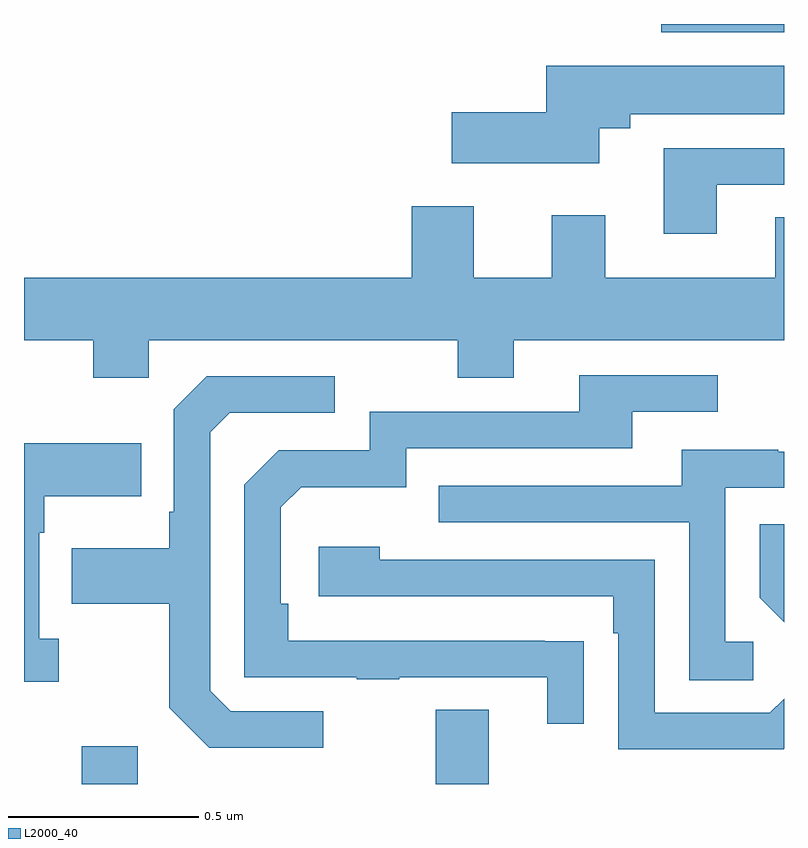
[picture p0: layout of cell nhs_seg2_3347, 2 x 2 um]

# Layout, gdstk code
import gdstk
lib = gdstk.Library(unit=1e-6, precision=1e-09)
def R(c, l, rs):  # rectangles x0, y0, x1, y1
    for r in rs: c.add(gdstk.rectangle(r[:2], r[2:], *l))
def P(c, l, *ps):  # polygons
    for p in ps: c.add(gdstk.Polygon(p, *l))
L2000_40 = (2000, 40)

nhs_seg2_3347 = lib.new_cell('nhs_seg2_3347')
R(nhs_seg2_3347, L2000_40, [(152.152,647.8,152.299,647.899), (153.083,647.8,153.223,647.995), (153.677,649.778,154,649.8)])
P(nhs_seg2_3347, L2000_40, [(153.514,649.526),(153.595,649.526),(153.595,649.562),(154,649.562),(154,649.69),(153.374,649.69),(153.374,649.568),(153.126,649.568),(153.126,649.433),(153.514,649.433)],
  [(153.823,649.377),(154,649.377),(154,649.473),(153.683,649.473),(153.683,649.248),(153.823,649.248)],
  [(152.328,648.968),(153.142,648.968),(153.142,648.869),(153.289,648.869),(153.289,648.968),(154,648.968),(154,649.292),(153.977,649.292),(153.977,649.132),(153.529,649.132),(153.529,649.297),(153.389,649.297),(153.389,649.132),(153.184,649.132),(153.184,649.321),(153.02,649.321),(153.02,649.132),(152,649.132),(152,648.968),(152.182,648.968),(152.182,648.869),(152.328,648.869)],
  [(153.473,648.176),(153.371,648.176),(153.371,648.177),(152.696,648.177),(152.696,648.274),(152.676,648.274),(152.676,648.528),(152.729,648.581),(153.006,648.581),(153.006,648.684),(153.601,648.684),(153.601,648.78),(153.826,648.78),(153.826,648.876),(153.461,648.876),(153.461,648.78),(152.91,648.78),(152.91,648.678),(152.67,648.678),(152.58,648.588),(152.58,648.081),(152.875,648.081),(152.875,648.076),(152.987,648.076),(152.987,648.081),(153.377,648.081),(153.377,647.958),(153.473,647.958)],
  [(152.788,647.991),(152.544,647.991),(152.49,648.045),(152.49,648.726),(152.541,648.777),(152.818,648.777),(152.818,648.873),(152.481,648.873),(152.394,648.786),(152.394,648.517),(152.382,648.517),(152.382,648.421),(152.125,648.421),(152.125,648.274),(152.382,648.274),(152.382,648.001),(152.487,647.895),(152.788,647.895)],
  [(152.092,648.182),(152.04,648.182),(152.04,648.461),(152.053,648.461),(152.053,648.557),(152.309,648.557),(152.309,648.697),(152,648.697),(152,648.069),(152.092,648.069)],
  [(153.919,648.174),(153.846,648.174),(153.846,648.579),(154,648.579),(154,648.675),(153.985,648.675),(153.985,648.679),(153.731,648.679),(153.731,648.585),(153.091,648.585),(153.091,648.489),(153.75,648.489),(153.75,648.073),(153.919,648.073)],
  [(154,648.484),(153.936,648.484),(153.936,648.29),(154,648.226)],
  [(154,647.893),(154,648.025),(153.963,647.988),(153.66,647.988),(153.66,648.39),(152.936,648.39),(152.936,648.424),(152.775,648.424),(152.775,648.294),(153.551,648.294),(153.551,648.197),(153.564,648.197),(153.564,647.892),(153.999,647.892)])

lib.write_gds('nhs_seg2_3347.gds')
